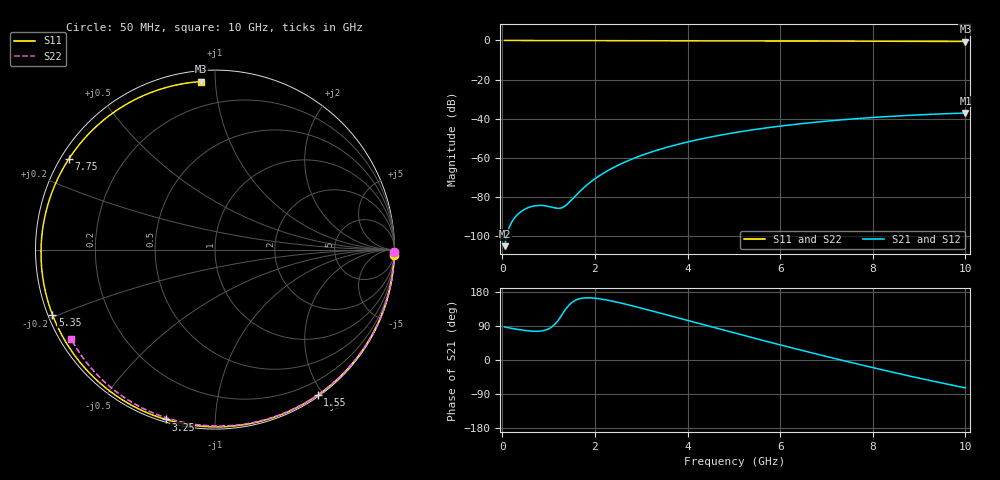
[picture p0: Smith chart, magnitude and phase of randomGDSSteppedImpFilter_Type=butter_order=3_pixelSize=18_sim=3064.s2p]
! freq	dB(S11)	phase(S11)	dB(S12)	phase(S12)
!  dB(S21)	phase(S21)	dB(S22)	phase(S22)
!S-par simulation data
#  GHz  S  DB  R 50
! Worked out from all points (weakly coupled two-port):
!   200 points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, 50 MHz to 10 GHz, reference 50 ohm
!   highest |S21| = -37.14 dB at 10 GHz (marker M1); lowest = -105.3 dB at 50 MHz (marker M2)
!   lowest |S11| = -0.5 dB at 10 GHz (marker M3), VSWR 32.00, Z = 2.88 + j45.8 ohm
!   |S11| at or under -10 dB: nowhere
!   |S22| runs from -0.5 to 0.0 dB; largest |S21 - S12| = 0
!   S11 on the Smith chart (normalised r, x): 50 MHz: 1, -64; 1.55 GHz: 0.02, -1.93; 3.25 GHz: 0.01, -0.75; 5.35 GHz: 0.01, -0.19; 7.75 GHz: 0.02, +0.28; 10 GHz: 0.06, +0.92
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0.05  -0.00 -1.8  -105.25 87.6  -105.25 87.6  -0.00 -0.8
0.4  -0.02 -14.5  -87.64 79.5  -87.64 79.5  -0.01 -6.8
0.75  -0.04 -27.1  -84.48 75.8  -84.48 75.8  -0.02 -12.7
1.15  -0.05 -41.2  -85.75 96.1  -85.75 96.1  -0.02 -19.4
1.55  -0.07 -54.8  -80.21 155.7  -80.21 155.7  -0.03 -26.1
1.75  -0.08 -61.4  -75.52 163.4  -75.52 163.4  -0.04 -29.4
2.05  -0.09 -71.0  -69.94 162.4  -69.94 162.4  -0.04 -34.3
2.4  -0.10 -81.8  -65.03 154.7  -65.03 154.7  -0.05 -40.0
2.8  -0.11 -93.6  -60.69 143.2  -60.69 143.2  -0.06 -46.4
3.25  -0.13 -106.2  -56.84 128.9  -56.84 128.9  -0.07 -53.5
3.4  -0.13 -110.3  -55.73 124.0  -55.73 124.0  -0.07 -55.9
3.8  -0.15 -120.8  -53.11 110.9  -53.11 110.9  -0.08 -62.1
4.25  -0.16 -132.2  -50.61 96.1  -50.61 96.1  -0.10 -68.9
5.05  -0.20 -151.3  -47.04 70.1  -47.04 70.1  -0.12 -80.7
5.35  -0.21 -158.2  -45.93 60.5  -45.93 60.5  -0.14 -85.1
6  -0.25 -172.8  -43.83 40.0  -43.83 40.0  -0.17 -94.3
6.7  -0.30 171.6  -41.98 18.4  -41.98 18.4  -0.20 -104.0
7.2  -0.33 160.5  -40.87 3.3  -40.87 3.3  -0.23 -110.8
7.75  -0.37 148.2  -39.83 -12.9  -39.83 -12.9  -0.27 -118.2
8.35  -0.42 134.6  -38.89 -30.0  -38.89 -30.0  -0.32 -126.1
9.2  -0.48 114.5  -37.85 -53.2  -37.85 -53.2  -0.41 -137.4
10  -0.54 94.9  -37.14 -73.5  -37.14 -73.5  -0.50 -148.0
